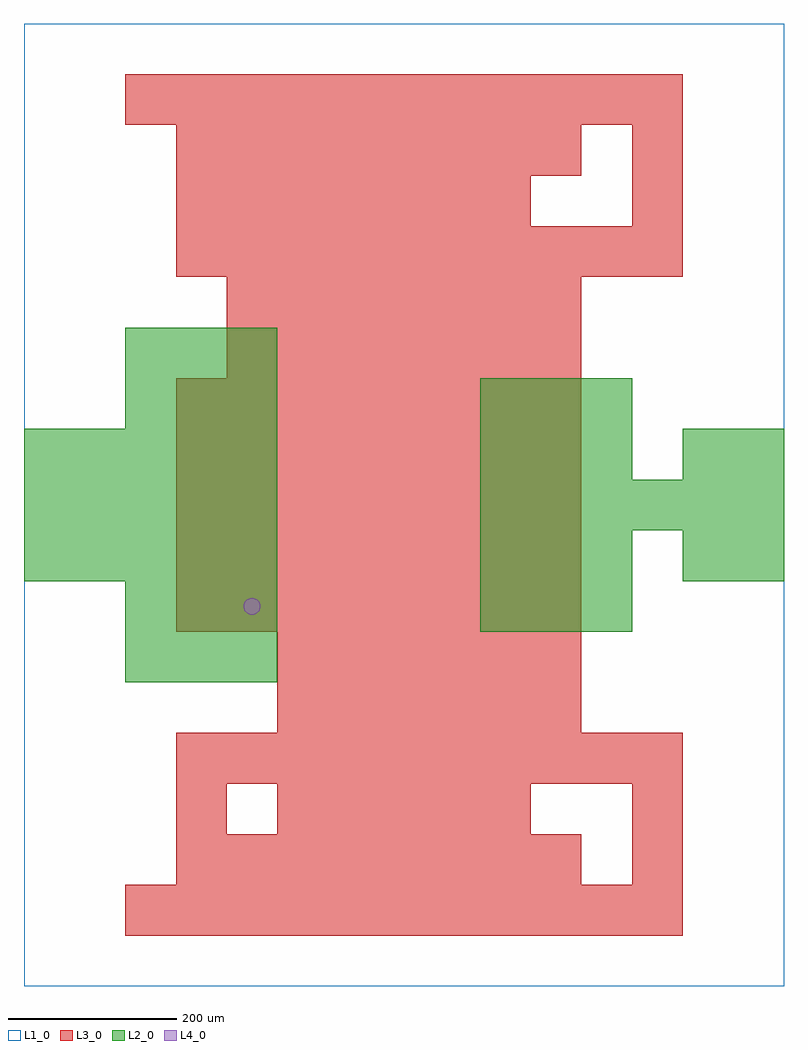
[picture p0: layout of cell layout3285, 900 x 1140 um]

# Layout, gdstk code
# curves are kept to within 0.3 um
import gdstk
lib = gdstk.Library(unit=1e-6, precision=1e-09)
def R(c, l, rs):  # rectangles x0, y0, x1, y1
    for r in rs: c.add(gdstk.rectangle(r[:2], r[2:], *l))
def A(c, l, x, y, w, h, nx, ny, dx, dy):  # array of equal rectangles
    R(c, l, [(x+i*dx, y+j*dy, x+i*dx+w, y+j*dy+h) for i in range(nx) for j in range(ny)])
def P(c, l, *ps):  # polygons
    for p in ps: c.add(gdstk.Polygon(p, *l))
L1_0 = (1, 0)
L2_0 = (2, 0)
L3_0 = (3, 0)
L4_0 = (4, 0)

layout3285 = lib.new_cell('layout3285')
R(layout3285, L1_0, [(0,0,900,1140)])
A(layout3285, L2_0, 120, 360, 60, 60, 3, 2, 60, 60)
A(layout3285, L2_0, 540, 420, 60, 60, 3, 2, 60, 60)
A(layout3285, L2_0, 0, 480, 60, 60, 5, 3, 60, 60)
A(layout3285, L2_0, 540, 540, 60, 60, 6, 1, 60, 0)
A(layout3285, L2_0, 540, 600, 60, 60, 3, 2, 60, 60)
A(layout3285, L2_0, 120, 660, 60, 60, 3, 2, 60, 60)
R(layout3285, L2_0, [(780,480,840,540), (840,480,900,540), (780,600,840,660), (840,600,900,660)])
A(layout3285, L3_0, 120, 60, 60, 60, 11, 2, 60, 960)
A(layout3285, L3_0, 180, 120, 60, 60, 8, 2, 60, 300)
A(layout3285, L3_0, 300, 180, 60, 60, 5, 1, 60, 0)
A(layout3285, L3_0, 180, 240, 60, 60, 10, 2, 60, 600)
A(layout3285, L3_0, 300, 300, 60, 60, 6, 2, 60, 60)
A(layout3285, L3_0, 180, 480, 60, 60, 8, 4, 60, 60)
A(layout3285, L3_0, 240, 720, 60, 60, 7, 2, 60, 60)
A(layout3285, L3_0, 180, 900, 60, 60, 7, 1, 60, 0)
A(layout3285, L3_0, 180, 960, 60, 60, 8, 1, 60, 0)
R(layout3285, L3_0, [(720,120,780,180), (180,180,240,240), (720,180,780,240), (720,900,780,960), (720,960,780,1020)])
P(layout3285, L4_0, [(280,450),(279.239,453.827),(277.071,457.071),(273.827,459.239),(270,460),(266.173,459.239),(262.929,457.071),(260.761,453.827),(260,450),(260.761,446.173),(262.929,442.929),(266.173,440.761),(270,440),(273.827,440.761),(277.071,442.929),(279.239,446.173)])

lib.write_gds('layout3285.gds')
